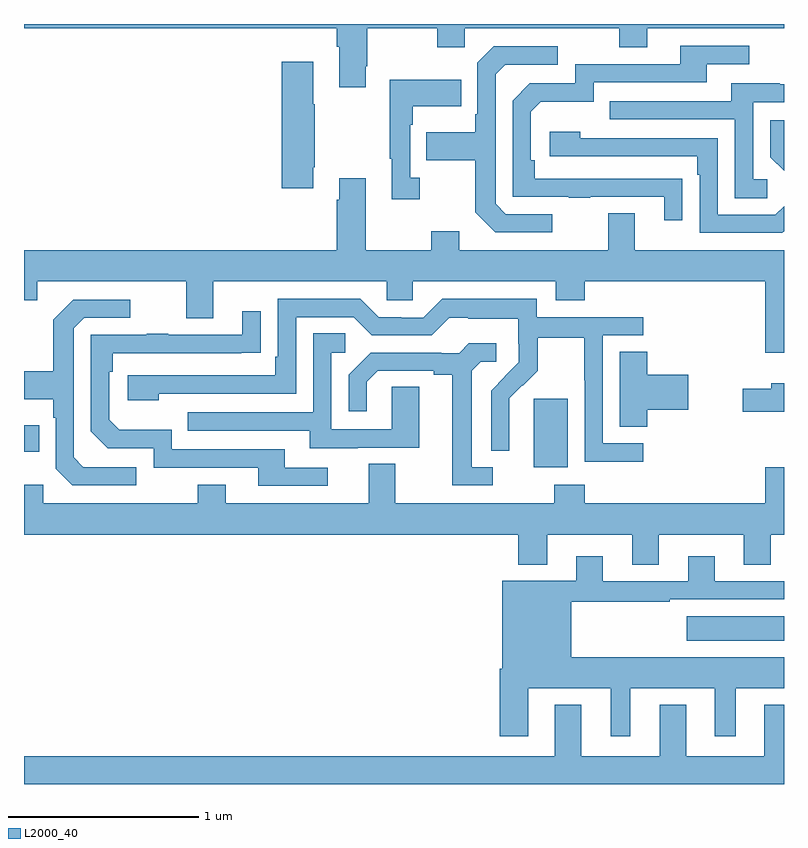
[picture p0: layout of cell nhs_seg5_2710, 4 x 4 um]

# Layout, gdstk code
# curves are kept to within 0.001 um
import gdstk
lib = gdstk.Library(unit=1e-6, precision=1e-09)
def R(c, l, rs):  # rectangles x0, y0, x1, y1
    for r in rs: c.add(gdstk.rectangle(r[:2], r[2:], *l))
def P(c, l, *ps):  # polygons
    for p in ps: c.add(gdstk.Polygon(p, *l))
L2000_40 = (2000, 40)

nhs_seg5_2710 = lib.new_cell('nhs_seg5_2710')
R(nhs_seg5_2710, L2000_40, [(272.487,837.554,273,837.682), (271.682,838.466,271.861,838.827), (269,838.547,269.081,838.687)])
P(nhs_seg5_2710, L2000_40, [(270.799,840.577),(270.807,840.577),(270.807,840.776),(271.174,840.776),(271.174,840.677),(271.32,840.677),(271.32,840.776),(272.134,840.776),(272.134,840.677),(272.281,840.677),(272.281,840.776),(273,840.776),(273,840.799),(269,840.799),(269,840.776),(270.647,840.776),(270.647,840.68),(270.659,840.68),(270.659,840.465),(270.799,840.465)],
  [(272.465,839.984),(271.688,839.985),(271.688,840.082),(271.668,840.082),(271.668,840.336),(271.721,840.389),(271.998,840.389),(271.998,840.492),(272.593,840.492),(272.593,840.588),(272.818,840.588),(272.818,840.684),(272.453,840.684),(272.453,840.588),(271.902,840.588),(271.902,840.486),(271.662,840.486),(271.572,840.396),(271.572,839.889),(271.867,839.889),(271.867,839.884),(271.979,839.884),(271.979,839.889),(272.369,839.889),(272.369,839.766),(272.465,839.766)],
  [(271.78,839.799),(271.536,839.799),(271.482,839.853),(271.482,840.534),(271.533,840.585),(271.81,840.585),(271.81,840.681),(271.473,840.681),(271.386,840.594),(271.386,840.325),(271.374,840.325),(271.374,840.229),(271.117,840.229),(271.117,840.082),(271.374,840.082),(271.374,839.809),(271.479,839.703),(271.78,839.703)],
  [(270.523,840.046),(270.531,840.046),(270.531,840.377),(270.523,840.377),(270.523,840.601),(270.356,840.601),(270.356,839.934),(270.523,839.934)],
  [(271.084,839.99),(271.032,839.99),(271.032,840.269),(271.045,840.269),(271.045,840.365),(271.301,840.365),(271.301,840.505),(270.924,840.505),(270.924,840.089),(270.935,840.089),(270.935,839.877),(271.084,839.877)],
  [(272.911,839.982),(272.838,839.982),(272.838,840.387),(273,840.387),(273,840.483),(272.977,840.483),(272.977,840.487),(272.723,840.487),(272.723,840.393),(272.083,840.393),(272.083,840.297),(272.742,840.297),(272.742,839.881),(272.911,839.881)],
  [(273,840.292),(272.928,840.292),(272.928,840.098),(273,840.026)],
  [(273,839.709),(273,839.841),(272.955,839.796),(272.652,839.796),(272.652,840.198),(271.928,840.198),(271.928,840.232),(271.767,840.232),(271.767,840.102),(272.543,840.102),(272.543,840.005),(272.556,840.005),(272.556,839.7),(272.991,839.7)],
  [(273,839.608),(272.215,839.608),(272.215,839.803),(272.075,839.803),(272.075,839.608),(271.291,839.608),(271.291,839.707),(271.144,839.707),(271.144,839.608),(270.799,839.608),(270.799,839.986),(270.659,839.986),(270.659,839.873),(270.647,839.873),(270.647,839.608),(269,839.608),(269,839.345),(269.071,839.345),(269.071,839.444),(269.855,839.444),(269.855,839.25),(269.995,839.25),(269.995,839.444),(270.909,839.444),(270.909,839.346),(271.047,839.346),(271.047,839.444),(271.799,839.444),(271.799,839.345),(271.952,839.345),(271.952,839.444),(272.9,839.444),(272.9,839.07),(273,839.07)],
  [(272.26,838.593),(272.046,838.593),(272.046,839.16),(272.26,839.16),(272.26,839.256),(271.698,839.256),(271.698,839.353),(271.201,839.353),(271.101,839.253),(270.986,839.253),(270.986,839.256),(270.867,839.256),(270.771,839.352),(270.336,839.352),(270.336,839.047),(270.323,839.047),(270.323,838.95),(269.547,838.95),(269.547,838.82),(269.708,838.82),(269.708,838.854),(270.432,838.854),(270.432,839.256),(270.735,839.256),(270.831,839.16),(271.146,839.16),(271.239,839.253),(271.339,839.253),(271.339,839.249),(271.602,839.249),(271.602,839.115),(271.604,839.115),(271.604,839.018),(271.458,838.87),(271.458,838.552),(271.554,838.552),(271.553,838.829),(271.623,838.899),(271.626,838.896),(271.703,838.973),(271.703,839.148),(271.948,839.148),(271.948,838.924),(271.95,838.924),(271.95,838.495),(272.26,838.495)],
  [(269.59,838.467),(269.313,838.467),(269.262,838.518),(269.262,839.199),(269.316,839.253),(269.56,839.253),(269.56,839.349),(269.259,839.349),(269.154,839.243),(269.154,838.971),(269,838.971),(269,838.823),(269.154,838.823),(269.154,838.727),(269.166,838.727),(269.166,838.458),(269.253,838.371),(269.59,838.371)],
  [(270.598,838.464),(270.373,838.464),(270.373,838.56),(269.778,838.56),(269.778,838.663),(269.501,838.663),(269.448,838.716),(269.448,838.97),(269.468,838.97),(269.468,839.067),(270.245,839.068),(270.245,839.287),(270.149,839.287),(270.149,839.163),(269.759,839.163),(269.759,839.168),(269.647,839.168),(269.647,839.163),(269.352,839.163),(269.352,838.656),(269.442,838.566),(269.682,838.566),(269.682,838.464),(270.233,838.464),(270.233,838.368),(270.598,838.368)],
  [(270.757,838.569),(271.081,838.569),(271.081,838.889),(270.936,838.889),(270.936,838.665),(270.618,838.665),(270.618,839.07),(270.691,839.07),(270.691,839.171),(270.522,839.171),(270.522,838.755),(269.863,838.755),(269.863,838.659),(270.503,838.659),(270.503,838.565),(270.757,838.565)],
  [(271.468,838.467),(271.357,838.467),(271.357,838.975),(271.404,839.022),(271.486,839.022),(271.486,839.119),(271.342,839.119),(271.29,839.067),(271.196,839.067),(271.196,839.07),(270.824,839.07),(270.708,838.954),(270.708,838.761),(270.805,838.761),(270.805,838.917),(270.862,838.974),(271.157,838.974),(271.157,838.952),(271.253,838.952),(271.253,838.371),(271.468,838.371)],
  [(272.279,838.769),(272.497,838.769),(272.497,838.952),(272.279,838.952),(272.279,839.075),(272.135,839.075),(272.135,838.678),(272.279,838.678)],
  [(273,838.909),(272.933,838.909),(272.933,838.879),(272.784,838.879),(272.784,838.757),(273,838.757)],
  [(272.341,838.112),(272.789,838.112),(272.789,837.952),(272.929,837.952),(272.929,838.112),(273,838.112),(273,838.465),(272.9,838.465),(272.9,838.276),(271.952,838.276),(271.952,838.375),(271.792,838.375),(271.792,838.276),(270.955,838.276),(270.955,838.484),(270.815,838.484),(270.815,838.276),(270.061,838.276),(270.061,838.375),(269.914,838.375),(269.914,838.276),(269.1,838.276),(269.1,838.375),(269,838.375),(269,838.112),(271.601,838.112),(271.601,837.953),(271.753,837.953),(271.753,838.112),(272.201,838.112),(272.201,837.952),(272.341,837.952)],
  [(271.654,837.302),(272.087,837.302),(272.087,837.051),(272.191,837.051),(272.191,837.302),(272.636,837.302),(272.636,837.051),(272.746,837.051),(272.746,837.302),(273,837.302),(273,837.466),(271.879,837.466),(271.879,837.759),(272.399,837.759),(272.399,837.771),(273,837.771),(273,837.867),(272.635,837.867),(272.635,837.997),(272.495,837.997),(272.495,837.867),(272.047,837.867),(272.047,837.997),(271.907,837.997),(271.907,837.868),(271.517,837.868),(271.517,837.406),(271.505,837.406),(271.505,837.051),(271.654,837.051)],
  [(273,837.217),(272.897,837.217),(272.897,836.944),(272.485,836.944),(272.485,837.217),(272.345,837.217),(272.345,836.944),(271.933,836.944),(271.933,837.217),(271.793,837.217),(271.793,836.944),(269,836.944),(269,836.799),(273,836.799)])

lib.write_gds('nhs_seg5_2710.gds')
